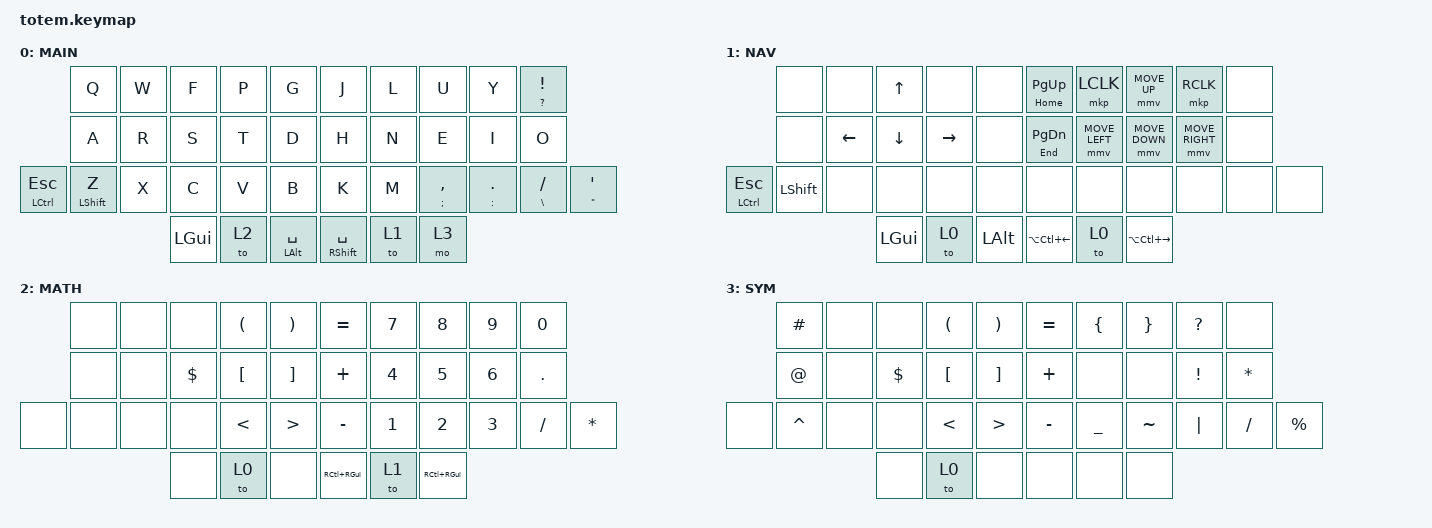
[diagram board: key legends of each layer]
//
//                                                        ▀▀▀▀▀     ▀▀▀▀▀          ▀▀█▀▀
//                                                        ▄▀▀▀▄  ▄  ▄▀▀▀▄  ▄  ▄▀▀▀▄  █  ▄▀▀▀▄
//                                                        █   █  █  █   █  █  █   █  █  █   █
//                                                         ▀▀▀   █   ▀▀▀   █   ▀▀▀   ▀   ▀▀▀
//                                                               █      ▄▄▄█▄▄▄    █   █  
//                                                               ▀      █  █  █     █▄█
//                                                             ▀▀▀▀▀    █  █  █      ▀
//                                                                      ▀  ▀  ▀
//
// ▄▄▄▄▄▄▄▄▄▄▄▄▄▄▄▄▄▄▄▄▄▄▄▄▄▄▄▄▄▄▄▄▄▄▄▄▄▄▄▄▄▄▄▄▄▄▄▄▄▄▄▄▄▄▄▄▄▄▄▄▄▄▄▄▄▄▄▄▄▄▄▄▄▄▄▄▄▄▄▄▄▄▄▄▄▄▄▄▄▄▄▄▄▄▄▄▄▄▄▄▄▄▄▄▄▄▄▄▄▄▄▄▄▄▄▄▄▄▄▄▄▄▄▄▄▄▄▄▄▄▄▄▄▄▄▄▄▄▄▄▄▄▄▄▄▄▄▄▄

#include <behaviors.dtsi>
#include <dt-bindings/zmk/keys.h>
#include <dt-bindings/zmk/pointing.h>
#include <dt-bindings/zmk/pointing.h>

#define BASE 0
#define NAV  1
#define SYM  2
#define ADJ  3
#define TVP1 4
#define TVP2 5

&mt {
    quick-tap-ms = <100>;
    global-quick-tap;
    flavor = "tap-preferred";
    tapping-term-ms = <170>;
};

/ {
    combos {
        compatible = "zmk,combos";

        r_enter {
            bindings = <&kp ENTER>;
            key-positions = <16 17 18>;
        };

        r_backspace {
            bindings = <&kp BACKSPACE>;
            key-positions = <7 8>;
        };

        r_backspace_word {
            bindings = <&kp LC(BACKSPACE)>;
            key-positions = <6 7 8>;
        };

        r_backspace_line {
            bindings = <&kp LC(LS(BACKSPACE))>;
            key-positions = <6 7 8 9>;
        };

        r_delete {
            bindings = <&kp DELETE>;
            key-positions = <9 8>;
        };

        r_delete_word {
            bindings = <&kp LC(DELETE)>;
            key-positions = <9 8 7>;
        };

        r_searchF {
            bindings = <&kp LC(F)>;
            key-positions = <6 5>;
        };

        r_searchK {
            bindings = <&kp LC(K)>;
            key-positions = <16 15>;
        };

        r_close_window {
            bindings = <&kp LC(W)>;
            key-positions = <28 29>;
        };

        r_close_app {
            bindings = <&kp LA(F4)>;
            key-positions = <29 30 28>;
        };

        r_end {
            bindings = <&kp END>;
            key-positions = <18 17 35>;
        };

        r_start {
            bindings = <&kp HOME>;
            key-positions = <17 16 35>;
        };

        r_next_word {
            bindings = <&kp LC(RIGHT_ARROW)>;
            key-positions = <18 17>;
        };

        r_previous_word {
            bindings = <&kp RC(LEFT_ARROW)>;
            key-positions = <17 16>;
        };

        l_cut {
            bindings = <&kp LC(X)>;
            key-positions = <22 23 21>;
        };

        l_copy {
            bindings = <&kp LC(C)>;
            key-positions = <22 23>;
        };

        l_paste {
            bindings = <&kp LC(V)>;
            key-positions = <23 24>;
        };

        l_tab {
            bindings = <&kp TAB>;
            key-positions = <1 2>;
        };

        l_undo {
            bindings = <&kp LC(Z)>;
            key-positions = <22 21>;
        };

        l_cycle_tab_left {
            bindings = <&kp LS(LC(TAB))>;
            key-positions = <11 12>;
        };

        l_cycle_tab_right {
            bindings = <&kp LC(TAB)>;
            key-positions = <12 13>;
        };

        l_cycle_desktop_right {
            bindings = <&kp LC(LA(RIGHT_ARROW))>;
            key-positions = <11 12 13>;
        };

        l_cycle_desktop_left {
            bindings = <&kp LC(LA(LEFT_ARROW))>;
            key-positions = <1 2 3>;
        };

        l_enter {
            bindings = <&kp ENTER>;
            key-positions = <22 23 24>;
        };

        l_volumen_ctrl {
            bindings = <&kp LG(V)>;
            key-positions = <24 32>;
        };
    };

    keymap {
        compatible = "zmk,keymap";

        // ▄▄▄▄▄▄▄▄▄▄▄▄▄▄▄▄▄▄▄▄▄▄▄▄▄▄▄▄▄▄▄▄▄▄▄▄▄▄▄▄▄▄▄▄▄▄▄▄▄▄▄▄▄▄▄▄▄▄▄▄▄▄▄▄▄▄▄▄▄▄▄▄▄▄▄▄▄▄▄▄▄▄▄▄▄▄▄▄▄▄▄▄▄▄▄▄▄▄▄▄▄▄▄▄▄▄▄▄▄▄▄▄▄▄▄▄▄▄▄▄▄▄▄▄▄▄▄▄▄▄▄▄▄▄▄▄▄▄▄▄▄▄▄▄▄▄▄▄▄

        Main {
            label = "MAIN";
            bindings = <
                         &kp Q             &kp W  &kp F         &kp P  &kp G                 &kp J                  &kp L  &kp U                &kp Y             &mt QUESTION EXCLAMATION
                         &kp A             &kp R  &kp S         &kp T  &kp D                 &kp H                  &kp N  &kp E                &kp I             &kp O
&mt LEFT_CONTROL ESCAPE  &mt LEFT_SHIFT Z  &kp X  &kp C         &kp V  &kp B                 &kp K                  &kp M  &mt SEMICOLON COMMA  &mt COLON PERIOD  &mt BACKSLASH SLASH       &mt DOUBLE_QUOTES SINGLE_QUOTE
                                                  &kp LEFT_GUI  &to 2  &mt LEFT_ALT SPACE    &mt RIGHT_SHIFT SPACE  &to 1  &mo 3
            >;
        };

        Navigation {
            label = "NAV";
            bindings = <
                         &none           &none           &kp UP_ARROW    &none            &none           &mt HOME PAGE_UP        &mkp LCLK       &mmv MOVE_UP             &mkp RCLK        &none
                         &none           &kp LEFT_ARROW  &kp DOWN_ARROW  &kp RIGHT_ARROW  &none           &mt END PAGE_DOWN       &mmv MOVE_LEFT  &mmv MOVE_DOWN           &mmv MOVE_RIGHT  &none
&mt LEFT_CONTROL ESCAPE  &kp LEFT_SHIFT  &none           &none           &none            &none           &none                   &none           &none                    &none            &none  &none
                                                         &kp LEFT_GUI    &to 0            &kp LEFT_ALT    &kp LA(LC(LEFT_ARROW))  &to 0           &kp LA(LC(RIGHT_ARROW))
            >;
        };

        Math {
            bindings = <
       &none  &none  &none       &kp LEFT_PARENTHESIS  &kp RIGHT_PARENTHESIS    &kp EQUAL          &kp N7  &kp N8             &kp N9  &kp NUMBER_0
       &none  &none  &kp DOLLAR  &kp LEFT_BRACKET      &kp RIGHT_BRACKET        &kp PLUS           &kp N4  &kp N5             &kp N6  &kp DOT
&none  &none  &none  &none       &kp LESS_THAN         &kp GREATER_THAN         &kp MINUS          &kp N1  &kp N2             &kp N3  &kp SLASH     &kp ASTRK
                     &none       &to 0                 &none                    &kp RC(RIGHT_GUI)  &to 1   &kp RC(RIGHT_GUI)
            >;

            label = "MATH";
        };

        Symbols {
            label = "SYM";
            bindings = <
       &kp HASH   &none  &none       &kp LEFT_PARENTHESIS  &kp RIGHT_PARENTHESIS    &kp EQUAL  &kp LEFT_BRACE  &kp RIGHT_BRACE  &kp QUESTION     &none
       &kp AT     &none  &kp DOLLAR  &kp LEFT_BRACKET      &kp RIGHT_BRACKET        &kp PLUS   &none           &none            &kp EXCLAMATION  &kp ASTERISK
&none  &kp CARET  &none  &none       &kp LESS_THAN         &kp GREATER_THAN         &kp MINUS  &kp UNDERSCORE  &kp TILDE        &kp PIPE         &kp SLASH     &kp PERCENT
                         &none       &to 0                 &none                    &none      &none           &none
            >;
        };
    };
};
